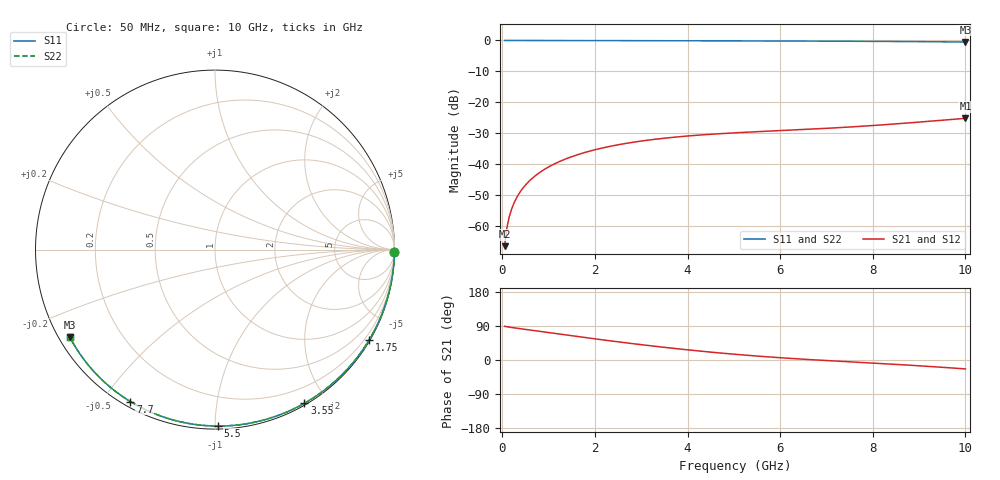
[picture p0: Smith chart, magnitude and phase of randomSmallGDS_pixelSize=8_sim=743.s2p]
! freq	dB(S11)	phase(S11)	dB(S12)	phase(S12)
!  dB(S21)	phase(S21)	dB(S22)	phase(S22)
!S-par simulation data
#  GHz  S  DB  R 50
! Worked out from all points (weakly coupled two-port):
!   200 points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, 50 MHz to 10 GHz, reference 50 ohm
!   highest |S21| = -25.23 dB at 10 GHz (marker M1); lowest = -66.7 dB at 50 MHz (marker M2)
!   lowest |S11| = -0.5 dB at 10 GHz (marker M3), VSWR 35.04, Z = 1.54 - j13.9 ohm
!   |S11| at or under -10 dB: nowhere
!   |S22| runs from -0.5 to 0.0 dB; largest |S21 - S12| = 0
!   S11 on the Smith chart (normalised r, x): 50 MHz: open; 1.75 GHz: 0.03, -3.69; 3.55 GHz: 0.02, -1.74; 5.5 GHz: 0.02, -1.02; 7.7 GHz: 0.02, -0.59; 10 GHz: 0.03, -0.28
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0.05  -0.00 -0.9  -66.65 88.8  -66.65 88.8  -0.00 -0.9
0.1  -0.00 -1.8  -60.66 87.8  -60.66 87.8  -0.00 -1.8
0.15  -0.00 -2.6  -57.17 86.8  -57.17 86.8  -0.00 -2.6
0.2  -0.00 -3.5  -54.70 85.8  -54.70 85.8  -0.00 -3.5
0.25  -0.00 -4.4  -52.79 84.9  -52.79 84.9  -0.00 -4.4
0.35  -0.00 -6.2  -49.91 83.2  -49.91 83.2  -0.00 -6.2
0.5  -0.01 -8.8  -46.86 80.7  -46.86 80.7  -0.01 -8.8
0.7  -0.01 -12.3  -43.99 77.4  -43.99 77.4  -0.01 -12.3
1  -0.02 -17.5  -40.98 72.3  -40.98 72.3  -0.02 -17.5
1.35  -0.03 -23.5  -38.50 66.5  -38.50 66.5  -0.03 -23.5
1.75  -0.04 -30.3  -36.44 59.8  -36.44 59.8  -0.04 -30.3
2.5  -0.06 -42.9  -33.80 47.9  -33.80 47.9  -0.06 -42.9
3.4  -0.08 -57.4  -31.84 34.7  -31.84 34.7  -0.08 -57.4
3.55  -0.08 -59.8  -31.59 32.7  -31.59 32.7  -0.08 -59.8
4.3  -0.10 -71.4  -30.61 23.1  -30.61 23.1  -0.10 -71.4
5.05  -0.13 -82.6  -29.90 14.8  -29.90 14.8  -0.13 -82.6
5.5  -0.15 -89.1  -29.56 10.4  -29.56 10.4  -0.15 -89.1
6.7  -0.21 -105.8  -28.71 0.6  -28.71 0.6  -0.21 -105.8
7.7  -0.27 -119.1  -27.86 -6.1  -27.86 -6.1  -0.27 -119.1
8.35  -0.32 -127.6  -27.20 -10.5  -27.20 -10.5  -0.32 -127.6
9.2  -0.41 -138.6  -26.21 -16.8  -26.21 -16.8  -0.41 -138.6
10  -0.50 -148.9  -25.23 -23.5  -25.23 -23.5  -0.50 -148.9
